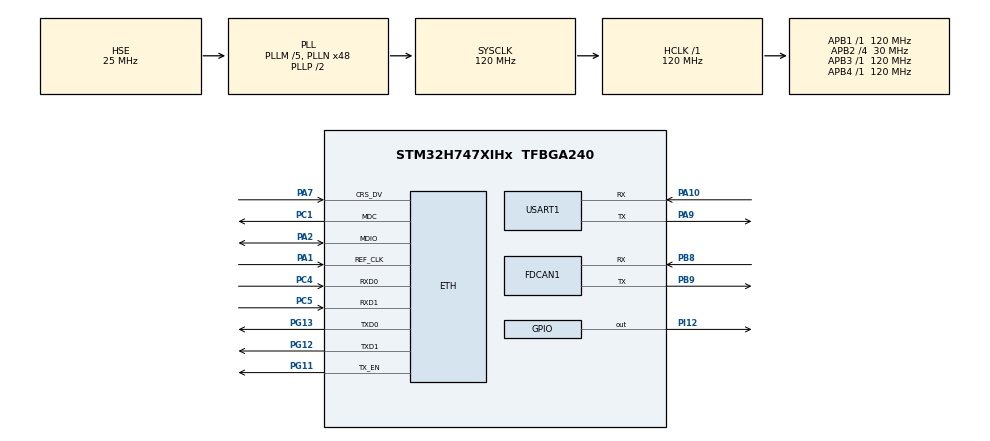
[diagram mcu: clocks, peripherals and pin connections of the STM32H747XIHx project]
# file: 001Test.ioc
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CortexM4.IPs=BDMA,DMA,FATFS_M4\:I,FREERTOS_M4\:I,IWDG2\:I,MDMA,NVIC2\:I,RCC,USB_DEVICE_M4\:I,USB_HOST_M4\:I,WWDG2\:I,ADC1\:I,DCMI\:I,DEBUG,PDM2PCM_M4\:I,PWR,RESMGR_UTILITY,SYS_M4\:I,CORTEX_M4\:I,OPENAMP_M4\:I,VREFBUF,GPIO,TIM3\:I
CortexM7.IPs=BDMA\:I,DMA\:I,FATFS_M7\:I,FREERTOS_M7\:I,IWDG1\:I,MDMA\:I,NVIC1\:I,RCC\:I,USB_DEVICE_M7\:I,USB_HOST_M7\:I,WWDG1\:I,CORTEX_M7\:I,DEBUG\:I,PDM2PCM_M7\:I,PWR\:I,RESMGR_UTILITY\:I,SYS\:I,OPENAMP_M7\:I,VREFBUF\:I,GPIO\:I,MEMORYMAP\:I,ETH\:I,RNG\:I,USART1\:I,FDCAN1\:I,STMicroelectronics.X-CUBE-TOUCHGFX.4.26.1_M7\:I,CRC\:I
CortexM7.Pins=PI12
ETH.MediaInterface=HAL_ETH_RMII_MODE
FDCAN1.AutoRetransmission=ENABLE
FDCAN1.CalculateBaudRateNominal=500000
FDCAN1.CalculateTimeBitNominal=2000
FDCAN1.CalculateTimeQuantumNominal=125.0
FDCAN1.NominalPrescaler=6
FDCAN1.NominalTimeSeg1=13
FDCAN1.NominalTimeSeg2=2
FDCAN1.RxFifo0ElmtsNbr=1
FDCAN1.StdFiltersNbr=1
FDCAN1.TxFifoQueueElmtsNbr=1
Mcu.Family=STM32H7
Mcu.Name=STM32H747XIHx
Mcu.Package=TFBGA240
NVIC1.ETH_IRQn=true\:0\:0\:false\:true\:false\:1\:true\:true\:true
NVIC1.PriorityGroup=NVIC_PRIORITYGROUP_4
NVIC2.PriorityGroup=NVIC_PRIORITYGROUP_4
PA1.Mode=RMII
PA1.PinAttribute=CortexM7
PA1.Signal=ETH_REF_CLK
PA10.Mode=Asynchronous
PA10.PinAttribute=CortexM7
PA10.Signal=USART1_RX
PA2.Mode=RMII
PA2.PinAttribute=CortexM7
PA2.Signal=ETH_MDIO
PA7.Mode=RMII
PA7.PinAttribute=CortexM7
PA7.Signal=ETH_CRS_DV
PA9.Mode=Asynchronous
PA9.PinAttribute=CortexM7
PA9.Signal=USART1_TX
PB8.Mode=FDCAN_Activate
PB8.PinAttribute=CortexM7
PB8.Signal=FDCAN1_RX
PB9.Mode=FDCAN_Activate
PB9.PinAttribute=CortexM7
PB9.Signal=FDCAN1_TX
PC1.Mode=RMII
PC1.PinAttribute=CortexM7
PC1.Signal=ETH_MDC
PC14-OSC32_IN\ (OSC32_IN).Mode=LSE-External-Oscillator
PC14-OSC32_IN\ (OSC32_IN).PinAttribute=Free
PC14-OSC32_IN\ (OSC32_IN).Signal=RCC_OSC32_IN
PC15-OSC32_OUT\ (OSC32_OUT).Mode=LSE-External-Oscillator
PC15-OSC32_OUT\ (OSC32_OUT).PinAttribute=Free
PC15-OSC32_OUT\ (OSC32_OUT).Signal=RCC_OSC32_OUT
PC4.Mode=RMII
PC4.PinAttribute=CortexM7
PC4.Signal=ETH_RXD0
PC5.Mode=RMII
PC5.PinAttribute=CortexM7
PC5.Signal=ETH_RXD1
PD8.PinAttribute=CortexM7
PD8.Signal=USART3_TX
PD9.PinAttribute=CortexM7
PD9.Signal=USART3_RX
PG11.Mode=RMII
PG11.PinAttribute=CortexM7
PG11.Signal=ETH_TX_EN
PG12.Mode=RMII
PG12.PinAttribute=CortexM7
PG12.Signal=ETH_TXD1
PG13.Mode=RMII
PG13.PinAttribute=CortexM7
PG13.Signal=ETH_TXD0
PH0-OSC_IN\ (PH0).Mode=HSE-External-Oscillator
PH0-OSC_IN\ (PH0).PinAttribute=Free
PH0-OSC_IN\ (PH0).Signal=RCC_OSC_IN
PH1-OSC_OUT\ (PH1).Mode=HSE-External-Oscillator
PH1-OSC_OUT\ (PH1).PinAttribute=Free
PH1-OSC_OUT\ (PH1).Signal=RCC_OSC_OUT
PI12.PinAttribute=CortexM7
PI12.Signal=GPIO_Output
ProjectManager.HeapSize=M4-0x200,M7-0x200
ProjectManager.StackSize=M4-0x400,M7-0x400
ProjectManager.TargetToolchain=STM32CubeIDE
RCC.ADCFreq_Value=31250000
RCC.APB1Freq_Value=120000000
RCC.APB2Freq_Value=30000000
RCC.APB3Freq_Value=120000000
RCC.APB4Freq_Value=120000000
RCC.CortexFreq_Value=120000000
RCC.D2PPRE2=RCC_APB2_DIV4
RCC.DIVM1=5
RCC.DIVM2=4
RCC.DIVN1=48
RCC.DIVN2=10
RCC.DIVQ1=5
RCC.HCLKFreq_Value=120000000
RCC.PLLFRACN=0
RCC.PLLSourceVirtual=RCC_PLLSOURCE_HSE
RCC.SYSCLKFreq_VALUE=120000000
RCC.SYSCLKSource=RCC_SYSCLKSOURCE_PLLCLK
RCC.SupplySource=PWR_DIRECT_SMPS_SUPPLY
RCC.USBFreq_Value=48000000
STMicroelectronics.X-CUBE-TOUCHGFX.4.26.1_IsPackSelfContextualization=true
STMicroelectronics.X-CUBE-TOUCHGFX.4.26.1_M7.tgfx_custom_height=480
STMicroelectronics.X-CUBE-TOUCHGFX.4.26.1_M7.tgfx_custom_width=800
USART1.VirtualMode-Asynchronous=VM_ASYNC
VP_CRC_VS_CRC.Mode=CRC_Activate
VP_MEMORYMAP_VS_MEMORYMAP.Mode=CurAppReg
VP_RNG_VS_RNG.Mode=RNG_Activate
VP_SYS_M4_VS_Systick.Mode=SysTick
board=STM32H747I-DISCO

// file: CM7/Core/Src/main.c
/* USER CODE BEGIN Header */
/**
  ******************************************************************************
  * @file           : main.c
  * @brief          : Main program body
  ******************************************************************************
  * @attention
  *
  * Copyright (c) 2026 STMicroelectronics.
  * All rights reserved.
  *
  * This software is licensed under terms that can be found in the LICENSE file
  * in the root directory of this software component.
  * If no LICENSE file comes with this software, it is provided AS-IS.
  *
  ******************************************************************************
  */
/* USER CODE END Header */
#include "main.h"
#include "string.h"

/* USER CODE BEGIN Includes */
#include <stdio.h>
#include "mongoose.h"
/* USER CODE END Includes */

/* USER CODE BEGIN PD */

#ifndef HSEM_ID_0
#define HSEM_ID_0 (0U) /* HW semaphore 0*/
#endif

/* USER CODE END PD */

#if defined ( __ICCARM__ ) /*!< IAR Compiler */
#pragma location=0x30000000
ETH_DMADescTypeDef  DMARxDscrTab[ETH_RX_DESC_CNT]; /* Ethernet Rx DMA Descriptors */
#pragma location=0x30000080
ETH_DMADescTypeDef  DMATxDscrTab[ETH_TX_DESC_CNT]; /* Ethernet Tx DMA Descriptors */

#elif defined ( __CC_ARM )  /* MDK ARM Compiler */

__attribute__((at(0x30000000))) ETH_DMADescTypeDef  DMARxDscrTab[ETH_RX_DESC_CNT]; /* Ethernet Rx DMA Descriptors */
__attribute__((at(0x30000080))) ETH_DMADescTypeDef  DMATxDscrTab[ETH_TX_DESC_CNT]; /* Ethernet Tx DMA Descriptors */

#elif defined ( __GNUC__ ) /* GNU Compiler */

ETH_DMADescTypeDef DMARxDscrTab[ETH_RX_DESC_CNT] __attribute__((section(".RxDescripSection"))); /* Ethernet Rx DMA Descriptors */
ETH_DMADescTypeDef DMATxDscrTab[ETH_TX_DESC_CNT] __attribute__((section(".TxDescripSection")));   /* Ethernet Tx DMA Descriptors */
#endif

ETH_TxPacketConfig TxConfig;

CRC_HandleTypeDef hcrc;

ETH_HandleTypeDef heth;

FDCAN_HandleTypeDef hfdcan1;

RNG_HandleTypeDef hrng;

UART_HandleTypeDef huart1;

void SystemClock_Config(void);
static void MX_GPIO_Init(void);
static void MX_ETH_Init(void);
static void MX_RNG_Init(void);
static void MX_USART1_UART_Init(void);
static void MX_FDCAN1_Init(void);
static void MX_CRC_Init(void);
static void MX_NVIC_Init(void);

/* USER CODE BEGIN 0 */

int _write(int fd, unsigned char *buf, int len) {
  if (fd == 1 || fd == 2) {
    HAL_UART_Transmit(&huart1, buf, len, 999);
  }
  return len;
}

uint64_t mg_millis(void) {
  return HAL_GetTick();
}

bool mg_random(void *buf, size_t len) {
  for (size_t n = 0; n < len; n += sizeof(uint32_t)) {
    uint32_t r;
    HAL_RNG_GenerateRandomNumber(&hrng, &r);
    memcpy((char *) buf + n, &r, n + sizeof(r) > len ? len - n : sizeof(r));
  }
  return true;
}

static void run_mongoose(void) {
  struct mg_mgr mgr;        // Mongoose event manager
  mg_mgr_init(&mgr);        // Initialise event manager
  mg_log_set(MG_LL_DEBUG);  // Set log level to debug
  for (;;) {
    mg_mgr_poll(&mgr, 0);   // Process network events
  }
}

/* USER CODE END 0 */

int main(void)
{

/* USER CODE BEGIN Boot_Mode_Sequence_0 */
//  int32_t timeout;
/* USER CODE END Boot_Mode_Sequence_0 */

/* USER CODE BEGIN Boot_Mode_Sequence_1 */
//  /* Wait until CPU2 boots and enters in stop mode or timeout*/
//  timeout = 0xFFFF;
//  while((__HAL_RCC_GET_FLAG(RCC_FLAG_D2CKRDY) != RESET) && (timeout-- > 0));
//  if ( timeout < 0 )
//  {
//  Error_Handler();
//  }
/* USER CODE END Boot_Mode_Sequence_1 */
  /* MCU Configuration--------------------------------------------------------*/

  /* Reset of all peripherals, Initializes the Flash interface and the Systick. */
  HAL_Init();

  /* Configure the system clock */
  SystemClock_Config();
/* USER CODE BEGIN Boot_Mode_Sequence_2 */
/* When system initialization is finished, Cortex-M7 will release Cortex-M4 by means of
HSEM notification */
///*HW semaphore Clock enable*/
//__HAL_RCC_HSEM_CLK_ENABLE();
///*Take HSEM */
//HAL_HSEM_FastTake(HSEM_ID_0);
///*Release HSEM in order to notify the CPU2(CM4)*/
//HAL_HSEM_Release(HSEM_ID_0,0);
///* wait until CPU2 wakes up from stop mode */
//timeout = 0xFFFF;
//while((__HAL_RCC_GET_FLAG(RCC_FLAG_D2CKRDY) == RESET) && (timeout-- > 0));
//if ( timeout < 0 )
//{
//Error_Handler();
//}
/* USER CODE END Boot_Mode_Sequence_2 */

  /* Initialize all configured peripherals */
  MX_GPIO_Init();
  MX_ETH_Init();
  MX_RNG_Init();
  MX_USART1_UART_Init();
  MX_FDCAN1_Init();
  MX_CRC_Init();

  /* Initialize interrupts */
  MX_NVIC_Init();
  /* USER CODE BEGIN 2 */
  run_mongoose();
  /* USER CODE END 2 */

  /* Infinite loop */
  while (1)
  {

    /* USER CODE BEGIN 3 */
	  printf("Tick: %lu\r\n", HAL_GetTick());
	  HAL_Delay(500);
  }
  /* USER CODE END 3 */
}

void SystemClock_Config(void)
{
  RCC_OscInitTypeDef RCC_OscInitStruct = {0};
  RCC_ClkInitTypeDef RCC_ClkInitStruct = {0};

  /** Supply configuration update enable
  */
  HAL_PWREx_ConfigSupply(PWR_DIRECT_SMPS_SUPPLY);

  /** Configure the main internal regulator output voltage
  */
  __HAL_PWR_VOLTAGESCALING_CONFIG(PWR_REGULATOR_VOLTAGE_SCALE3);

  while(!__HAL_PWR_GET_FLAG(PWR_FLAG_VOSRDY)) {}

  /** Initializes the RCC Oscillators according to the specified parameters
  * in the RCC_OscInitTypeDef structure.
  */
  RCC_OscInitStruct.OscillatorType = RCC_OSCILLATORTYPE_HSI48|RCC_OSCILLATORTYPE_HSE;
  RCC_OscInitStruct.HSEState = RCC_HSE_ON;
  RCC_OscInitStruct.HSI48State = RCC_HSI48_ON;
  RCC_OscInitStruct.PLL.PLLState = RCC_PLL_ON;
  RCC_OscInitStruct.PLL.PLLSource = RCC_PLLSOURCE_HSE;
  RCC_OscInitStruct.PLL.PLLM = 5;
  RCC_OscInitStruct.PLL.PLLN = 48;
  RCC_OscInitStruct.PLL.PLLP = 2;
  RCC_OscInitStruct.PLL.PLLQ = 5;
  RCC_OscInitStruct.PLL.PLLR = 2;
  RCC_OscInitStruct.PLL.PLLRGE = RCC_PLL1VCIRANGE_2;
  RCC_OscInitStruct.PLL.PLLVCOSEL = RCC_PLL1VCOWIDE;
  RCC_OscInitStruct.PLL.PLLFRACN = 0;
  if (HAL_RCC_OscConfig(&RCC_OscInitStruct) != HAL_OK)
  {
    Error_Handler();
  }

  /** Initializes the CPU, AHB and APB buses clocks
  */
  RCC_ClkInitStruct.ClockType = RCC_CLOCKTYPE_HCLK|RCC_CLOCKTYPE_SYSCLK
                              |RCC_CLOCKTYPE_PCLK1|RCC_CLOCKTYPE_PCLK2
                              |RCC_CLOCKTYPE_D3PCLK1|RCC_CLOCKTYPE_D1PCLK1;
  RCC_ClkInitStruct.SYSCLKSource = RCC_SYSCLKSOURCE_PLLCLK;
  RCC_ClkInitStruct.SYSCLKDivider = RCC_SYSCLK_DIV1;
  RCC_ClkInitStruct.AHBCLKDivider = RCC_HCLK_DIV1;
  RCC_ClkInitStruct.APB3CLKDivider = RCC_APB3_DIV1;
  RCC_ClkInitStruct.APB1CLKDivider = RCC_APB1_DIV1;
  RCC_ClkInitStruct.APB2CLKDivider = RCC_APB2_DIV4;
  RCC_ClkInitStruct.APB4CLKDivider = RCC_APB4_DIV1;

  if (HAL_RCC_ClockConfig(&RCC_ClkInitStruct, FLASH_LATENCY_2) != HAL_OK)
  {
    Error_Handler();
  }
}

/**
  * @brief NVIC Configuration.
  * @retval None
  */
static void MX_NVIC_Init(void)
{
  /* ETH_IRQn interrupt configuration */
  HAL_NVIC_SetPriority(ETH_IRQn, 0, 0);
  HAL_NVIC_EnableIRQ(ETH_IRQn);
}

static void MX_CRC_Init(void)
{

  hcrc.Instance = CRC;
  hcrc.Init.DefaultPolynomialUse = DEFAULT_POLYNOMIAL_ENABLE;
  hcrc.Init.DefaultInitValueUse = DEFAULT_INIT_VALUE_ENABLE;
  hcrc.Init.InputDataInversionMode = CRC_INPUTDATA_INVERSION_NONE;
  hcrc.Init.OutputDataInversionMode = CRC_OUTPUTDATA_INVERSION_DISABLE;
  hcrc.InputDataFormat = CRC_INPUTDATA_FORMAT_BYTES;
  if (HAL_CRC_Init(&hcrc) != HAL_OK)
  {
    Error_Handler();
  }

}

static void MX_ETH_Init(void)
{

   static uint8_t MACAddr[6];

  heth.Instance = ETH;
  MACAddr[0] = 0x00;
  MACAddr[1] = 0x80;
  MACAddr[2] = 0xE1;
  MACAddr[3] = 0x00;
  MACAddr[4] = 0x00;
  MACAddr[5] = 0x00;
  heth.Init.MACAddr = &MACAddr[0];
  heth.Init.MediaInterface = HAL_ETH_RMII_MODE;
  heth.Init.TxDesc = DMATxDscrTab;
  heth.Init.RxDesc = DMARxDscrTab;
  heth.Init.RxBuffLen = 1536;

  if (HAL_ETH_Init(&heth) != HAL_OK)
  {
    Error_Handler();
  }

  memset(&TxConfig, 0 , sizeof(ETH_TxPacketConfig));
  TxConfig.Attributes = ETH_TX_PACKETS_FEATURES_CSUM | ETH_TX_PACKETS_FEATURES_CRCPAD;
  TxConfig.ChecksumCtrl = ETH_CHECKSUM_IPHDR_PAYLOAD_INSERT_PHDR_CALC;
  TxConfig.CRCPadCtrl = ETH_CRC_PAD_INSERT;

}

static void MX_FDCAN1_Init(void)
{

  hfdcan1.Instance = FDCAN1;
  hfdcan1.Init.FrameFormat = FDCAN_FRAME_CLASSIC;
  hfdcan1.Init.Mode = FDCAN_MODE_NORMAL;
  hfdcan1.Init.AutoRetransmission = ENABLE;
  hfdcan1.Init.TransmitPause = DISABLE;
  hfdcan1.Init.ProtocolException = DISABLE;
  hfdcan1.Init.NominalPrescaler = 6;
  hfdcan1.Init.NominalSyncJumpWidth = 1;
  hfdcan1.Init.NominalTimeSeg1 = 13;
  hfdcan1.Init.NominalTimeSeg2 = 2;
  hfdcan1.Init.DataPrescaler = 1;
  hfdcan1.Init.DataSyncJumpWidth = 1;
  hfdcan1.Init.DataTimeSeg1 = 1;
  hfdcan1.Init.DataTimeSeg2 = 1;
  hfdcan1.Init.MessageRAMOffset = 0;
  hfdcan1.Init.StdFiltersNbr = 1;
  hfdcan1.Init.ExtFiltersNbr = 0;
  hfdcan1.Init.RxFifo0ElmtsNbr = 1;
  hfdcan1.Init.RxFifo0ElmtSize = FDCAN_DATA_BYTES_8;
  hfdcan1.Init.RxFifo1ElmtsNbr = 0;
  hfdcan1.Init.RxFifo1ElmtSize = FDCAN_DATA_BYTES_8;
  hfdcan1.Init.RxBuffersNbr = 0;
  hfdcan1.Init.RxBufferSize = FDCAN_DATA_BYTES_8;
  hfdcan1.Init.TxEventsNbr = 0;
  hfdcan1.Init.TxBuffersNbr = 0;
  hfdcan1.Init.TxFifoQueueElmtsNbr = 1;
  hfdcan1.Init.TxFifoQueueMode = FDCAN_TX_FIFO_OPERATION;
  hfdcan1.Init.TxElmtSize = FDCAN_DATA_BYTES_8;
  if (HAL_FDCAN_Init(&hfdcan1) != HAL_OK)
  {
    Error_Handler();
  }

}

static void MX_RNG_Init(void)
{

  hrng.Instance = RNG;
  hrng.Init.ClockErrorDetection = RNG_CED_ENABLE;
  if (HAL_RNG_Init(&hrng) != HAL_OK)
  {
    Error_Handler();
  }

}

static void MX_USART1_UART_Init(void)
{

  huart1.Instance = USART1;
  huart1.Init.BaudRate = 115200;
  huart1.Init.WordLength = UART_WORDLENGTH_8B;
  huart1.Init.StopBits = UART_STOPBITS_1;
  huart1.Init.Parity = UART_PARITY_NONE;
  huart1.Init.Mode = UART_MODE_TX_RX;
  huart1.Init.HwFlowCtl = UART_HWCONTROL_NONE;
  huart1.Init.OverSampling = UART_OVERSAMPLING_16;
  huart1.Init.OneBitSampling = UART_ONE_BIT_SAMPLE_DISABLE;
  huart1.Init.ClockPrescaler = UART_PRESCALER_DIV1;
  huart1.AdvancedInit.AdvFeatureInit = UART_ADVFEATURE_NO_INIT;
  if (HAL_UART_Init(&huart1) != HAL_OK)
  {
    Error_Handler();
  }
  if (HAL_UARTEx_SetTxFifoThreshold(&huart1, UART_TXFIFO_THRESHOLD_1_8) != HAL_OK)
  {
    Error_Handler();
  }
  if (HAL_UARTEx_SetRxFifoThreshold(&huart1, UART_RXFIFO_THRESHOLD_1_8) != HAL_OK)
  {
    Error_Handler();
  }
  if (HAL_UARTEx_DisableFifoMode(&huart1) != HAL_OK)
  {
    Error_Handler();
  }

}

static void MX_GPIO_Init(void)
{
  GPIO_InitTypeDef GPIO_InitStruct = {0};

  /* GPIO Ports Clock Enable */
  __HAL_RCC_GPIOG_CLK_ENABLE();
  __HAL_RCC_GPIOB_CLK_ENABLE();
  __HAL_RCC_GPIOA_CLK_ENABLE();
  __HAL_RCC_GPIOI_CLK_ENABLE();
  __HAL_RCC_GPIOC_CLK_ENABLE();
  __HAL_RCC_GPIOD_CLK_ENABLE();

  /*Configure GPIO pin Output Level */
  HAL_GPIO_WritePin(GPIOI, GPIO_PIN_12, GPIO_PIN_RESET);

  /*Configure GPIO pin : PI12 */
  GPIO_InitStruct.Pin = GPIO_PIN_12;
  GPIO_InitStruct.Mode = GPIO_MODE_OUTPUT_PP;
  GPIO_InitStruct.Pull = GPIO_NOPULL;
  GPIO_InitStruct.Speed = GPIO_SPEED_FREQ_LOW;
  HAL_GPIO_Init(GPIOI, &GPIO_InitStruct);

  /*Configure GPIO pins : PD9 PD8 */
  GPIO_InitStruct.Pin = GPIO_PIN_9|GPIO_PIN_8;
  GPIO_InitStruct.Mode = GPIO_MODE_AF_PP;
  GPIO_InitStruct.Pull = GPIO_NOPULL;
  GPIO_InitStruct.Speed = GPIO_SPEED_FREQ_LOW;
  GPIO_InitStruct.Alternate = GPIO_AF7_USART3;
  HAL_GPIO_Init(GPIOD, &GPIO_InitStruct);

}

void Error_Handler(void)
{
  __disable_irq();
  while (1)
  {
  }
}
